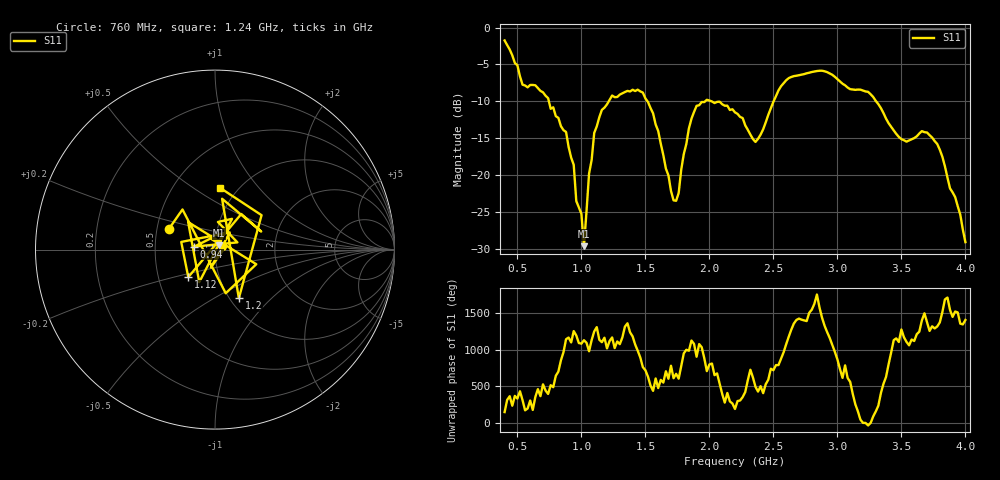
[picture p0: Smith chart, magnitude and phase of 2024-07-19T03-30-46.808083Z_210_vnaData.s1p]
!Created with skrf (http://scikit-rf.org).
# Hz S RI R 50.0
!freq ReS11 ImS11
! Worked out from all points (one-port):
!   181 points, 400 MHz to 4 GHz, reference 50 ohm
!   lowest |S11| = -29.6 dB at 1.02 GHz (marker M1), VSWR 1.07, Z = 52.2 + j2.56 ohm
!   |S11| at or under -10 dB: 745.8 MHz to 1.214 GHz (468.2 MHz wide, 47.8 % of centre); 2.016 GHz to 2.502 GHz (486 MHz wide, 21.5 % of centre); 3.302 GHz to end of sweep (the widest 3 of 4)
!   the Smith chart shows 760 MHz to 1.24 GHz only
!   S11 on the Smith chart (normalised r, x): 760 MHz: 0.58, +0.15; 940 MHz: 0.79, +0.03; 1.12 GHz: 0.71, -0.23; 1.2 GHz: 1.10, -0.66; 1.24 GHz: 0.83, +0.65
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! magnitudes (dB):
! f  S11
! 400 MHz  -1.8
! 540 MHz  -7.8
! 760 MHz  -11.0
! 860 MHz  -13.9
! 940 MHz  -18.6
! 960 MHz  -23.5
! 1 GHz  -25.3
! 1.02 GHz  -29.6
! 1.06 GHz  -19.8
! 1.12 GHz  -13.4
! 1.2 GHz  -10.4
! 1.24 GHz  -9.2
! 1.3 GHz  -9.1
! 1.48 GHz  -8.8
! 1.6 GHz  -14.0
! 1.72 GHz  -23.4
! 1.76 GHz  -22.4
! 1.84 GHz  -13.7
! 1.9 GHz  -10.6
! 2.2 GHz  -11.5
! 2.36 GHz  -15.5
! 2.54 GHz  -8.5
! 2.66 GHz  -6.6
! 3.1 GHz  -8.4
! 3.24 GHz  -8.7
! 3.56 GHz  -15.3
! 3.78 GHz  -15.8
! 4 GHz  -29.1
